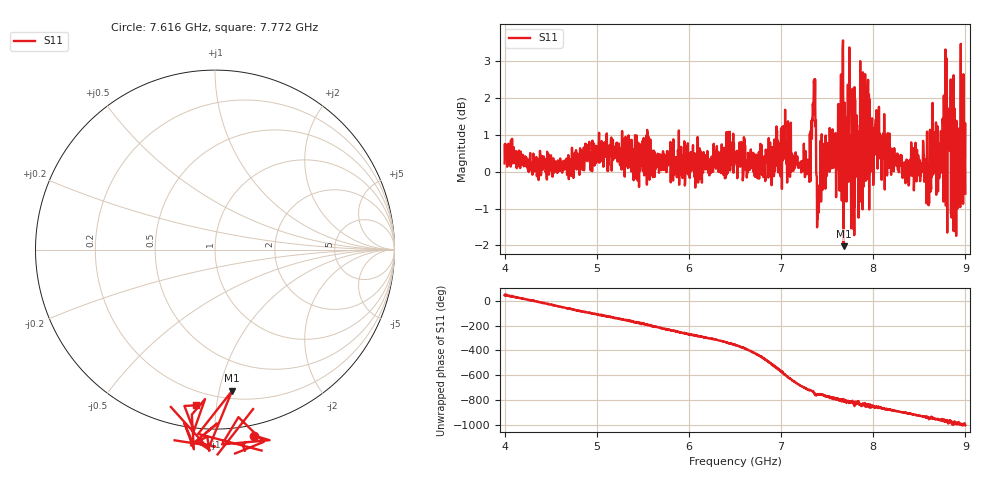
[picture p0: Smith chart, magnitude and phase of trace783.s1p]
! Created with skrf 1.8.0 (http://scikit-rf.org).
# Hz S RI R 50.0
!freq ReS11 ImS11
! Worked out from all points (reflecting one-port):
!   1601 points, 4 GHz to 9 GHz, reference 50 ohm
!   lowest |S11| = -2.0 dB at 7.678 GHz (marker M1), VSWR 8.64, Z = 12.9 - j54.7 ohm
!   phase of S11 starts at 49 deg and turns -1054 deg over the sweep
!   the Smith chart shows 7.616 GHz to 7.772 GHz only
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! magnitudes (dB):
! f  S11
! 4 GHz  0.2
! 4.625 GHz  0.0
! 5.25 GHz  0.2
! 5.875 GHz  0.2
! 6.5 GHz  0.5
! 6.806 GHz  0.3
! 7.025 GHz  1.2
! 7.125 GHz  0.2
! 7.294 GHz  -0.1
! 7.353 GHz  2.0
! 7.397 GHz  -1.3
! 7.412 GHz  -0.7
! 7.453 GHz  0.4
! 7.678 GHz  -2.0
! 7.75 GHz  0.7
! 7.775 GHz  2.2
! 7.844 GHz  0.9
! 7.909 GHz  0.8
! 7.928 GHz  0.3
! 8.375 GHz  0.0
! 8.538 GHz  0.3
! 8.603 GHz  -0.2
! 8.656 GHz  0.8
! 8.725 GHz  0.5
! 8.834 GHz  1.2
! 8.906 GHz  0.6
! 8.972 GHz  0.6
! 9 GHz  -0.6
